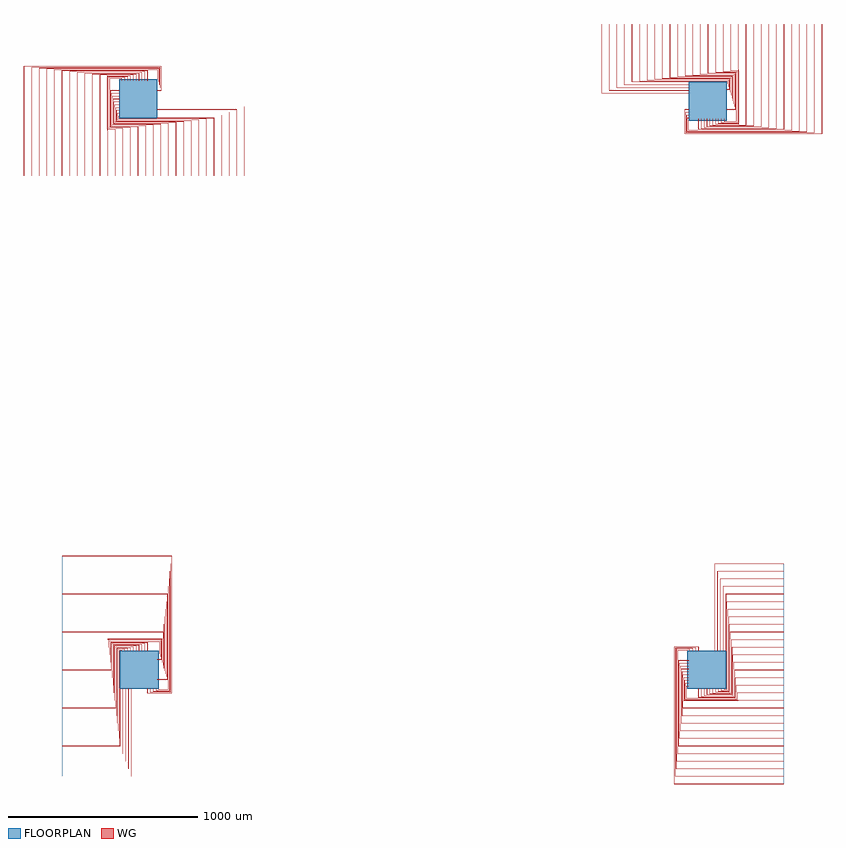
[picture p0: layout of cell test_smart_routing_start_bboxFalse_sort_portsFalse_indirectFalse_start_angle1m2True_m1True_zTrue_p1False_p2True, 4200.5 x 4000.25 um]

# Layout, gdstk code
import gdstk
lib = gdstk.Library(unit=1e-6, precision=1e-09)
def R(c, l, rs):  # rectangles x0, y0, x1, y1
    for r in rs: c.add(gdstk.rectangle(r[:2], r[2:], *l))
def P(c, l, *ps):  # polygons
    for p in ps: c.add(gdstk.Polygon(p, *l))
WG = (1, 0)
FLOORPLAN = (10, 0)

test_smart_routing_start = lib.new_cell('test_smart_routing_start_bboxFalse_sort_portsFalse_indirectFalse_start_angle1m2True_m1True_zTrue_p1False_p2True')
P(test_smart_routing_start, WG, [(2877.5,2822.25),(2877.5,2950.25),(2900,2950.25),(2900,2949.75),(2878,2949.75),(2878,2822.75),(3599.75,2822.75),(3599.75,3400),(3600.25,3400),(3600.25,2822.25)],
  [(2882,2826.75),(2882,2935.25),(2900,2935.25),(2900,2934.75),(2882.5,2934.75),(2882.5,2827.25),(3559.75,2827.25),(3559.75,3400),(3560.25,3400),(3560.25,2826.75)],
  [(2886.5,2831.25),(2886.5,2920.25),(2900,2920.25),(2900,2919.75),(2887,2919.75),(2887,2831.75),(3519.75,2831.75),(3519.75,3400),(3520.25,3400),(3520.25,2831.25)],
  [(2891,2835.75),(2891,2905.25),(2900,2905.25),(2900,2904.75),(2891.5,2904.75),(2891.5,2836.25),(3479.75,2836.25),(3479.75,3400),(3480.25,3400),(3480.25,2835.75)],
  [(2895.5,2840.25),(2895.5,2890.25),(2900,2890.25),(2900,2889.75),(2896,2889.75),(2896,2840.75),(3439.75,2840.75),(3439.75,3400),(3440.25,3400),(3440.25,2840.25)],
  [(2949.75,2844.75),(2949.75,2900),(2950.25,2900),(2950.25,2845.25),(3399.75,2845.25),(3399.75,3400),(3400.25,3400),(3400.25,2844.75)],
  [(2964.75,2849.25),(2964.75,2900),(2965.25,2900),(2965.25,2849.75),(3359.75,2849.75),(3359.75,3400),(3360.25,3400),(3360.25,2849.25)],
  [(2979.75,2853.75),(2979.75,2900),(2980.25,2900),(2980.25,2854.25),(3319.75,2854.25),(3319.75,3400),(3320.25,3400),(3320.25,2853.75)],
  [(2994.75,2858.25),(2994.75,2900),(2995.25,2900),(2995.25,2858.75),(3279.75,2858.75),(3279.75,3400),(3280.25,3400),(3280.25,2858.25)],
  [(3009.75,2862.75),(3009.75,2900),(3010.25,2900),(3010.25,2863.25),(3239.75,2863.25),(3239.75,3400),(3240.25,3400),(3240.25,2862.75)],
  [(3024.75,2867.25),(3024.75,2900),(3025.25,2900),(3025.25,2867.75),(3199.75,2867.75),(3199.75,3400),(3200.25,3400),(3200.25,2867.25)],
  [(3039.75,2871.75),(3039.75,2900),(3040.25,2900),(3040.25,2872.25),(3162.5,2872.25),(3162.5,3157.75),(3159.75,3157.75),(3159.75,3400),(3160.25,3400),(3160.25,3158.25),(3163,3158.25),(3163,2871.75)],
  [(3054.75,2876.25),(3054.75,2900),(3055.25,2900),(3055.25,2876.75),(3158,2876.75),(3158,3153.25),(3119.75,3153.25),(3119.75,3400),(3120.25,3400),(3120.25,3153.75),(3158.5,3153.75),(3158.5,2876.25)],
  [(3069.75,2880.75),(3069.75,2900),(3070.25,2900),(3070.25,2881.25),(3153.5,2881.25),(3153.5,3148.75),(3079.75,3148.75),(3079.75,3400),(3080.25,3400),(3080.25,3149.25),(3154,3149.25),(3154,2880.75)],
  [(3084.75,2885.25),(3084.75,2900),(3085.25,2900),(3085.25,2885.75),(3149,2885.75),(3149,3144.25),(3039.75,3144.25),(3039.75,3400),(3040.25,3400),(3040.25,3144.75),(3149.5,3144.75),(3149.5,2885.25)],
  [(3100,2949.75),(3100,2950.25),(3144.5,2950.25),(3144.5,3139.75),(2999.75,3139.75),(2999.75,3400),(3000.25,3400),(3000.25,3140.25),(3145,3140.25),(3145,2949.75)],
  [(3100,2964.75),(3100,2965.25),(3140,2965.25),(3140,3135.25),(2959.75,3135.25),(2959.75,3400),(2960.25,3400),(2960.25,3135.75),(3140.5,3135.75),(3140.5,2964.75)],
  [(3100,2979.75),(3100,2980.25),(3135.5,2980.25),(3135.5,3130.75),(2919.75,3130.75),(2919.75,3400),(2920.25,3400),(2920.25,3131.25),(3136,3131.25),(3136,2979.75)],
  [(3100,2994.75),(3100,2995.25),(3131,2995.25),(3131,3126.25),(2879.75,3126.25),(2879.75,3400),(2880.25,3400),(2880.25,3126.75),(3131.5,3126.75),(3131.5,2994.75)],
  [(3100,3009.75),(3100,3010.25),(3126.5,3010.25),(3126.5,3121.75),(2839.75,3121.75),(2839.75,3400),(2840.25,3400),(2840.25,3122.25),(3127,3122.25),(3127,3009.75)],
  [(3100,3024.75),(3100,3025.25),(3122,3025.25),(3122,3117.25),(2799.75,3117.25),(2799.75,3400),(2800.25,3400),(2800.25,3117.75),(3122.5,3117.75),(3122.5,3024.75)],
  [(3100,3039.75),(3100,3040.25),(3117.5,3040.25),(3117.5,3112.75),(2759.75,3112.75),(2759.75,3400),(2760.25,3400),(2760.25,3113.25),(3118,3113.25),(3118,3039.75)],
  [(3100,3054.75),(3100,3055.25),(3113,3055.25),(3113,3108.25),(2719.75,3108.25),(2719.75,3400),(2720.25,3400),(2720.25,3108.75),(3113.5,3108.75),(3113.5,3054.75)],
  [(3100,3069.75),(3100,3070.25),(3108.5,3070.25),(3108.5,3103.75),(2679.75,3103.75),(2679.75,3400),(2680.25,3400),(2680.25,3104.25),(3109,3104.25),(3109,3069.75)],
  [(3100,3084.75),(3100,3085.25),(3104,3085.25),(3104,3099.25),(2639.75,3099.25),(2639.75,3400),(2640.25,3400),(2640.25,3099.75),(3104.5,3099.75),(3104.5,3084.75)],
  [(2439.75,3034.75),(2439.75,3400),(2440.25,3400),(2440.25,3035.25),(2900,3035.25),(2900,3034.75)],
  [(2479.75,3049.75),(2479.75,3400),(2480.25,3400),(2480.25,3050.25),(2900,3050.25),(2900,3049.75)],
  [(2519.75,3064.75),(2519.75,3400),(2520.25,3400),(2520.25,3065.25),(2900,3065.25),(2900,3064.75)],
  [(2559.75,3079.75),(2559.75,3400),(2560.25,3400),(2560.25,3080.25),(2900,3080.25),(2900,3079.75)],
  [(2599.75,3094.75),(2599.75,3400),(2600.25,3400),(2600.25,3095.25),(2900,3095.25),(2900,3094.75)],
  [(-600.25,2600),(-600.25,3177.75),(122.5,3177.75),(122.5,3049.75),(100,3049.75),(100,3050.25),(122,3050.25),(122,3177.25),(-599.75,3177.25),(-599.75,2600)],
  [(-560.25,2600),(-560.25,3173.25),(118,3173.25),(118,3064.75),(100,3064.75),(100,3065.25),(117.5,3065.25),(117.5,3172.75),(-559.75,3172.75),(-559.75,2600)],
  [(-520.25,2600),(-520.25,3168.75),(113.5,3168.75),(113.5,3079.75),(100,3079.75),(100,3080.25),(113,3080.25),(113,3168.25),(-519.75,3168.25),(-519.75,2600)],
  [(-480.25,2600),(-480.25,3164.25),(109,3164.25),(109,3094.75),(100,3094.75),(100,3095.25),(108.5,3095.25),(108.5,3163.75),(-479.75,3163.75),(-479.75,2600)],
  [(-440.25,2600),(-440.25,3159.75),(104.5,3159.75),(104.5,3109.75),(100,3109.75),(100,3110.25),(104,3110.25),(104,3159.25),(-439.75,3159.25),(-439.75,2600)],
  [(-400.25,2600),(-400.25,3155.25),(50.25,3155.25),(50.25,3100),(49.75,3100),(49.75,3154.75),(-399.75,3154.75),(-399.75,2600)],
  [(-360.25,2600),(-360.25,3150.75),(35.25,3150.75),(35.25,3100),(34.75,3100),(34.75,3150.25),(-359.75,3150.25),(-359.75,2600)],
  [(-320.25,2600),(-320.25,3146.25),(20.25,3146.25),(20.25,3100),(19.75,3100),(19.75,3145.75),(-319.75,3145.75),(-319.75,2600)],
  [(-280.25,2600),(-280.25,3141.75),(5.25,3141.75),(5.25,3100),(4.75,3100),(4.75,3141.25),(-279.75,3141.25),(-279.75,2600)],
  [(-240.25,2600),(-240.25,3137.25),(-9.75,3137.25),(-9.75,3100),(-10.25,3100),(-10.25,3136.75),(-239.75,3136.75),(-239.75,2600)],
  [(-200.25,2600),(-200.25,3132.75),(-24.75,3132.75),(-24.75,3100),(-25.25,3100),(-25.25,3132.25),(-199.75,3132.25),(-199.75,2600)],
  [(-160.25,2600),(-160.25,2841.75),(-163,2841.75),(-163,3128.25),(-39.75,3128.25),(-39.75,3100),(-40.25,3100),(-40.25,3127.75),(-162.5,3127.75),(-162.5,2842.25),(-159.75,2842.25),(-159.75,2600)],
  [(-120.25,2600),(-120.25,2846.25),(-158.5,2846.25),(-158.5,3123.75),(-54.75,3123.75),(-54.75,3100),(-55.25,3100),(-55.25,3123.25),(-158,3123.25),(-158,2846.75),(-119.75,2846.75),(-119.75,2600)],
  [(-80.25,2600),(-80.25,2850.75),(-154,2850.75),(-154,3119.25),(-69.75,3119.25),(-69.75,3100),(-70.25,3100),(-70.25,3118.75),(-153.5,3118.75),(-153.5,2851.25),(-79.75,2851.25),(-79.75,2600)],
  [(-40.25,2600),(-40.25,2855.25),(-149.5,2855.25),(-149.5,3114.75),(-84.75,3114.75),(-84.75,3100),(-85.25,3100),(-85.25,3114.25),(-149,3114.25),(-149,2855.75),(-39.75,2855.75),(-39.75,2600)],
  [(-0.25,2600),(-0.25,2859.75),(-145,2859.75),(-145,3050.25),(-100,3050.25),(-100,3049.75),(-144.5,3049.75),(-144.5,2860.25),(0.25,2860.25),(0.25,2600)],
  [(39.75,2600),(39.75,2864.25),(-140.5,2864.25),(-140.5,3035.25),(-100,3035.25),(-100,3034.75),(-140,3034.75),(-140,2864.75),(40.25,2864.75),(40.25,2600)],
  [(79.75,2600),(79.75,2868.75),(-136,2868.75),(-136,3020.25),(-100,3020.25),(-100,3019.75),(-135.5,3019.75),(-135.5,2869.25),(80.25,2869.25),(80.25,2600)],
  [(119.75,2600),(119.75,2873.25),(-131.5,2873.25),(-131.5,3005.25),(-100,3005.25),(-100,3004.75),(-131,3004.75),(-131,2873.75),(120.25,2873.75),(120.25,2600)],
  [(159.75,2600),(159.75,2877.75),(-127,2877.75),(-127,2990.25),(-100,2990.25),(-100,2989.75),(-126.5,2989.75),(-126.5,2878.25),(160.25,2878.25),(160.25,2600)],
  [(199.75,2600),(199.75,2882.25),(-122.5,2882.25),(-122.5,2975.25),(-100,2975.25),(-100,2974.75),(-122,2974.75),(-122,2882.75),(200.25,2882.75),(200.25,2600)],
  [(239.75,2600),(239.75,2886.75),(-118,2886.75),(-118,2960.25),(-100,2960.25),(-100,2959.75),(-117.5,2959.75),(-117.5,2887.25),(240.25,2887.25),(240.25,2600)],
  [(279.75,2600),(279.75,2891.25),(-113.5,2891.25),(-113.5,2945.25),(-100,2945.25),(-100,2944.75),(-113,2944.75),(-113,2891.75),(280.25,2891.75),(280.25,2600)],
  [(319.75,2600),(319.75,2895.75),(-109,2895.75),(-109,2930.25),(-100,2930.25),(-100,2929.75),(-108.5,2929.75),(-108.5,2896.25),(320.25,2896.25),(320.25,2600)],
  [(359.75,2600),(359.75,2900.25),(-104.5,2900.25),(-104.5,2915.25),(-100,2915.25),(-100,2914.75),(-104,2914.75),(-104,2900.75),(360.25,2900.75),(360.25,2600)],
  [(559.75,2600),(559.75,2964.75),(100,2964.75),(100,2965.25),(560.25,2965.25),(560.25,2600)],
  [(519.75,2600),(519.75,2949.75),(100,2949.75),(100,2950.25),(520.25,2950.25),(520.25,2600)],
  [(479.75,2600),(479.75,2934.75),(100,2934.75),(100,2935.25),(480.25,2935.25),(480.25,2600)],
  [(439.75,2600),(439.75,2919.75),(100,2919.75),(100,2920.25),(440.25,2920.25),(440.25,2600)],
  [(399.75,2600),(399.75,2904.75),(100,2904.75),(100,2905.25),(400.25,2905.25),(400.25,2600)],
  [(49.75,-122.5),(49.75,-100),(50.25,-100),(50.25,-122),(177.25,-122),(177.25,599.75),(-400,599.75),(-400,600.25),(177.75,600.25),(177.75,-122.5)],
  [(64.75,-118),(64.75,-100),(65.25,-100),(65.25,-117.5),(172.75,-117.5),(172.75,559.75),(-400,559.75),(-400,560.25),(173.25,560.25),(173.25,-118)],
  [(79.75,-113.5),(79.75,-100),(80.25,-100),(80.25,-113),(168.25,-113),(168.25,519.75),(-400,519.75),(-400,520.25),(168.75,520.25),(168.75,-113.5)],
  [(94.75,-109),(94.75,-100),(95.25,-100),(95.25,-108.5),(163.75,-108.5),(163.75,479.75),(-400,479.75),(-400,480.25),(164.25,480.25),(164.25,-109)],
  [(109.75,-104.5),(109.75,-100),(110.25,-100),(110.25,-104),(159.25,-104),(159.25,439.75),(-400,439.75),(-400,440.25),(159.75,440.25),(159.75,-104.5)],
  [(100,-50.25),(100,-49.75),(154.75,-49.75),(154.75,399.75),(-400,399.75),(-400,400.25),(155.25,400.25),(155.25,-50.25)],
  [(100,-35.25),(100,-34.75),(150.25,-34.75),(150.25,359.75),(-400,359.75),(-400,360.25),(150.75,360.25),(150.75,-35.25)],
  [(100,-20.25),(100,-19.75),(145.75,-19.75),(145.75,319.75),(-400,319.75),(-400,320.25),(146.25,320.25),(146.25,-20.25)],
  [(100,-5.25),(100,-4.75),(141.25,-4.75),(141.25,279.75),(-400,279.75),(-400,280.25),(141.75,280.25),(141.75,-5.25)],
  [(100,9.75),(100,10.25),(136.75,10.25),(136.75,239.75),(-400,239.75),(-400,240.25),(137.25,240.25),(137.25,9.75)],
  [(100,24.75),(100,25.25),(132.25,25.25),(132.25,199.75),(-400,199.75),(-400,200.25),(132.75,200.25),(132.75,24.75)],
  [(100,39.75),(100,40.25),(127.75,40.25),(127.75,162.5),(-157.75,162.5),(-157.75,159.75),(-400,159.75),(-400,160.25),(-158.25,160.25),(-158.25,163),(128.25,163),(128.25,39.75)],
  [(100,54.75),(100,55.25),(123.25,55.25),(123.25,158),(-153.25,158),(-153.25,119.75),(-400,119.75),(-400,120.25),(-153.75,120.25),(-153.75,158.5),(123.75,158.5),(123.75,54.75)],
  [(100,69.75),(100,70.25),(118.75,70.25),(118.75,153.5),(-148.75,153.5),(-148.75,79.75),(-400,79.75),(-400,80.25),(-149.25,80.25),(-149.25,154),(119.25,154),(119.25,69.75)],
  [(-400,39.75),(-400,40.25),(-144.75,40.25),(-144.75,149.5),(114.75,149.5),(114.75,84.75),(100,84.75),(100,85.25),(114.25,85.25),(114.25,149),(-144.25,149),(-144.25,39.75)],
  [(-400,-0.25),(-400,0.25),(-140.25,0.25),(-140.25,145),(50.25,145),(50.25,100),(49.75,100),(49.75,144.5),(-139.75,144.5),(-139.75,-0.25)],
  [(-400,-40.25),(-400,-39.75),(-135.75,-39.75),(-135.75,140.5),(35.25,140.5),(35.25,100),(34.75,100),(34.75,140),(-135.25,140),(-135.25,-40.25)],
  [(-400,-80.25),(-400,-79.75),(-131.25,-79.75),(-131.25,136),(20.25,136),(20.25,100),(19.75,100),(19.75,135.5),(-130.75,135.5),(-130.75,-80.25)],
  [(-400,-120.25),(-400,-119.75),(-126.75,-119.75),(-126.75,131.5),(5.25,131.5),(5.25,100),(4.75,100),(4.75,131),(-126.25,131),(-126.25,-120.25)],
  [(-400,-160.25),(-400,-159.75),(-122.25,-159.75),(-122.25,127),(-9.75,127),(-9.75,100),(-10.25,100),(-10.25,126.5),(-121.75,126.5),(-121.75,-160.25)],
  [(-400,-200.25),(-400,-199.75),(-117.75,-199.75),(-117.75,122.5),(-24.75,122.5),(-24.75,100),(-25.25,100),(-25.25,122),(-117.25,122),(-117.25,-200.25)],
  [(-400,-240.25),(-400,-239.75),(-113.25,-239.75),(-113.25,118),(-39.75,118),(-39.75,100),(-40.25,100),(-40.25,117.5),(-112.75,117.5),(-112.75,-240.25)],
  [(-400,-280.25),(-400,-279.75),(-108.75,-279.75),(-108.75,113.5),(-54.75,113.5),(-54.75,100),(-55.25,100),(-55.25,113),(-108.25,113),(-108.25,-280.25)],
  [(-400,-320.25),(-400,-319.75),(-104.25,-319.75),(-104.25,109),(-69.75,109),(-69.75,100),(-70.25,100),(-70.25,108.5),(-103.75,108.5),(-103.75,-320.25)],
  [(-400,-360.25),(-400,-359.75),(-99.75,-359.75),(-99.75,104.5),(-84.75,104.5),(-84.75,100),(-85.25,100),(-85.25,104),(-99.25,104),(-99.25,-360.25)],
  [(-400,-560.25),(-400,-559.75),(-35.25,-559.75),(-35.25,-100),(-34.75,-100),(-34.75,-560.25)],
  [(-400,-520.25),(-400,-519.75),(-50.25,-519.75),(-50.25,-100),(-49.75,-100),(-49.75,-520.25)],
  [(-400,-480.25),(-400,-479.75),(-65.25,-479.75),(-65.25,-100),(-64.75,-100),(-64.75,-480.25)],
  [(-400,-440.25),(-400,-439.75),(-80.25,-439.75),(-80.25,-100),(-79.75,-100),(-79.75,-440.25)],
  [(-400,-400.25),(-400,-399.75),(-95.25,-399.75),(-95.25,-100),(-94.75,-100),(-94.75,-400.25)],
  [(2822.25,-600.25),(2822.25,122.5),(2950.25,122.5),(2950.25,100),(2949.75,100),(2949.75,122),(2822.75,122),(2822.75,-599.75),(3400,-599.75),(3400,-600.25)],
  [(2826.75,-560.25),(2826.75,118),(2935.25,118),(2935.25,100),(2934.75,100),(2934.75,117.5),(2827.25,117.5),(2827.25,-559.75),(3400,-559.75),(3400,-560.25)],
  [(2831.25,-520.25),(2831.25,113.5),(2920.25,113.5),(2920.25,100),(2919.75,100),(2919.75,113),(2831.75,113),(2831.75,-519.75),(3400,-519.75),(3400,-520.25)],
  [(2835.75,-480.25),(2835.75,109),(2905.25,109),(2905.25,100),(2904.75,100),(2904.75,108.5),(2836.25,108.5),(2836.25,-479.75),(3400,-479.75),(3400,-480.25)],
  [(2840.25,-440.25),(2840.25,104.5),(2890.25,104.5),(2890.25,100),(2889.75,100),(2889.75,104),(2840.75,104),(2840.75,-439.75),(3400,-439.75),(3400,-440.25)],
  [(2844.75,-400.25),(2844.75,50.25),(2900,50.25),(2900,49.75),(2845.25,49.75),(2845.25,-399.75),(3400,-399.75),(3400,-400.25)],
  [(2849.25,-360.25),(2849.25,35.25),(2900,35.25),(2900,34.75),(2849.75,34.75),(2849.75,-359.75),(3400,-359.75),(3400,-360.25)],
  [(2853.75,-320.25),(2853.75,20.25),(2900,20.25),(2900,19.75),(2854.25,19.75),(2854.25,-319.75),(3400,-319.75),(3400,-320.25)],
  [(2858.25,-280.25),(2858.25,5.25),(2900,5.25),(2900,4.75),(2858.75,4.75),(2858.75,-279.75),(3400,-279.75),(3400,-280.25)],
  [(2862.75,-240.25),(2862.75,-9.75),(2900,-9.75),(2900,-10.25),(2863.25,-10.25),(2863.25,-239.75),(3400,-239.75),(3400,-240.25)],
  [(2867.25,-200.25),(2867.25,-24.75),(2900,-24.75),(2900,-25.25),(2867.75,-25.25),(2867.75,-199.75),(3400,-199.75),(3400,-200.25)],
  [(2871.75,-163),(2871.75,-39.75),(2900,-39.75),(2900,-40.25),(2872.25,-40.25),(2872.25,-162.5),(3157.75,-162.5),(3157.75,-159.75),(3400,-159.75),(3400,-160.25),(3158.25,-160.25),(3158.25,-163)],
  [(2876.25,-158.5),(2876.25,-54.75),(2900,-54.75),(2900,-55.25),(2876.75,-55.25),(2876.75,-158),(3153.25,-158),(3153.25,-119.75),(3400,-119.75),(3400,-120.25),(3153.75,-120.25),(3153.75,-158.5)],
  [(2880.75,-154),(2880.75,-69.75),(2900,-69.75),(2900,-70.25),(2881.25,-70.25),(2881.25,-153.5),(3148.75,-153.5),(3148.75,-79.75),(3400,-79.75),(3400,-80.25),(3149.25,-80.25),(3149.25,-154)],
  [(2885.25,-149.5),(2885.25,-84.75),(2900,-84.75),(2900,-85.25),(2885.75,-85.25),(2885.75,-149),(3144.25,-149),(3144.25,-39.75),(3400,-39.75),(3400,-40.25),(3144.75,-40.25),(3144.75,-149.5)],
  [(2949.75,-145),(2949.75,-100),(2950.25,-100),(2950.25,-144.5),(3139.75,-144.5),(3139.75,0.25),(3400,0.25),(3400,-0.25),(3140.25,-0.25),(3140.25,-145)],
  [(2964.75,-140.5),(2964.75,-100),(2965.25,-100),(2965.25,-140),(3135.25,-140),(3135.25,40.25),(3400,40.25),(3400,39.75),(3135.75,39.75),(3135.75,-140.5)],
  [(2979.75,-136),(2979.75,-100),(2980.25,-100),(2980.25,-135.5),(3130.75,-135.5),(3130.75,80.25),(3400,80.25),(3400,79.75),(3131.25,79.75),(3131.25,-136)],
  [(2994.75,-131.5),(2994.75,-100),(2995.25,-100),(2995.25,-131),(3126.25,-131),(3126.25,120.25),(3400,120.25),(3400,119.75),(3126.75,119.75),(3126.75,-131.5)],
  [(3009.75,-127),(3009.75,-100),(3010.25,-100),(3010.25,-126.5),(3121.75,-126.5),(3121.75,160.25),(3400,160.25),(3400,159.75),(3122.25,159.75),(3122.25,-127)],
  [(3024.75,-122.5),(3024.75,-100),(3025.25,-100),(3025.25,-122),(3117.25,-122),(3117.25,200.25),(3400,200.25),(3400,199.75),(3117.75,199.75),(3117.75,-122.5)],
  [(3039.75,-118),(3039.75,-100),(3040.25,-100),(3040.25,-117.5),(3112.75,-117.5),(3112.75,240.25),(3400,240.25),(3400,239.75),(3113.25,239.75),(3113.25,-118)],
  [(3054.75,-113.5),(3054.75,-100),(3055.25,-100),(3055.25,-113),(3108.25,-113),(3108.25,280.25),(3400,280.25),(3400,279.75),(3108.75,279.75),(3108.75,-113.5)],
  [(3069.75,-109),(3069.75,-100),(3070.25,-100),(3070.25,-108.5),(3103.75,-108.5),(3103.75,320.25),(3400,320.25),(3400,319.75),(3104.25,319.75),(3104.25,-109)],
  [(3084.75,-104.5),(3084.75,-100),(3085.25,-100),(3085.25,-104),(3099.25,-104),(3099.25,360.25),(3400,360.25),(3400,359.75),(3099.75,359.75),(3099.75,-104.5)],
  [(3034.75,100),(3034.75,560.25),(3400,560.25),(3400,559.75),(3035.25,559.75),(3035.25,100)],
  [(3049.75,100),(3049.75,520.25),(3400,520.25),(3400,519.75),(3050.25,519.75),(3050.25,100)],
  [(3064.75,100),(3064.75,480.25),(3400,480.25),(3400,479.75),(3065.25,479.75),(3065.25,100)],
  [(3079.75,100),(3079.75,440.25),(3400,440.25),(3400,439.75),(3080.25,439.75),(3080.25,100)],
  [(3094.75,100),(3094.75,400.25),(3400,400.25),(3400,399.75),(3095.25,399.75),(3095.25,100)])
R(test_smart_routing_start, FLOORPLAN, [(-95,-100,110,100), (2890,-100,3095,100), (2900,2890,3100,3095), (-100,2905,100,3110)])
P(test_smart_routing_start, FLOORPLAN, [(-400,-560),(-400,600),(-400,600),(-400,-560)],
  [(-600,2600),(-600,2600),(560,2600),(560,2600)],
  [(3400,-600),(3400,560),(3400,560),(3400,-600)],
  [(2440,3400),(2440,3400),(3600,3400),(3600,3400)])

lib.write_gds('test_smart_routing_start_bboxFalse_sort_portsFalse_indirectFalse_start_angle1m2True_m1True_zTrue_p1False_p2True.gds')
